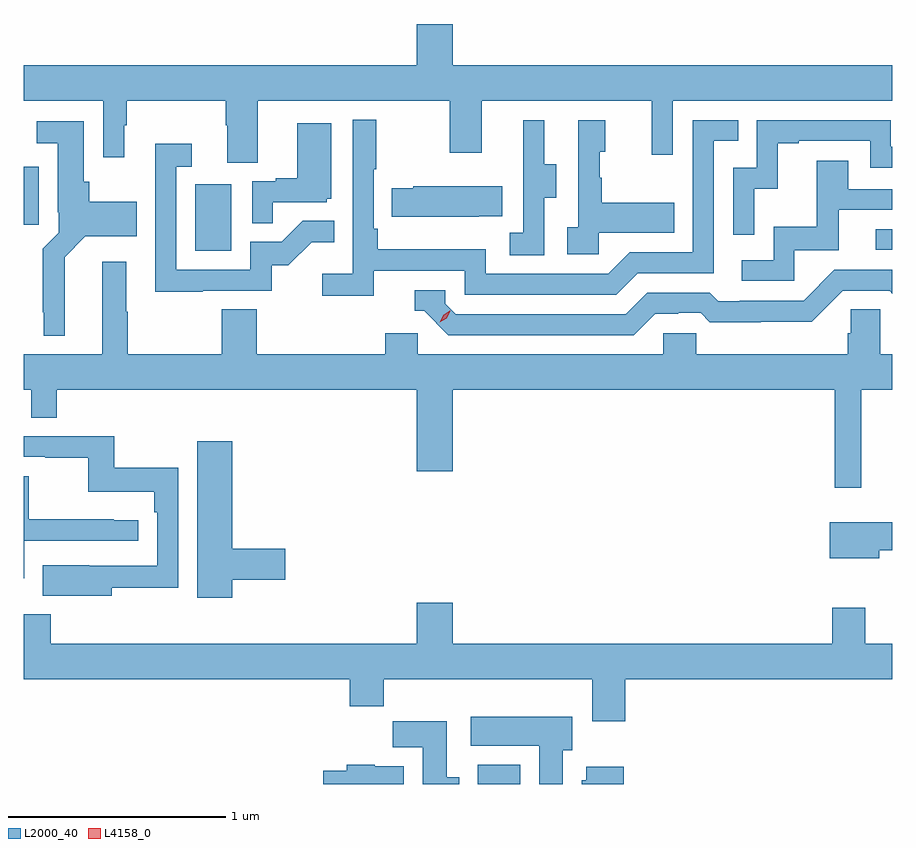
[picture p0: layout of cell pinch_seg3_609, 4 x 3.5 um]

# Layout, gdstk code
import gdstk
lib = gdstk.Library(unit=1e-6, precision=1e-09)
def R(c, l, rs):  # rectangles x0, y0, x1, y1
    for r in rs: c.add(gdstk.rectangle(r[:2], r[2:], *l))
def P(c, l, *ps):  # polygons
    for p in ps: c.add(gdstk.Polygon(p, *l))
L2000_40 = (2000, 40)
L4158_0 = (4158, 0)

pinch_seg3_609 = lib.new_cell('pinch_seg3_609')
R(pinch_seg3_609, L2000_40, [(1040.411,691.11,1040.608,691.198), (1039.112,693.564,1039.276,693.871), (1042.245,693.57,1042.321,693.663), (1038.321,693.684,1038.391,693.951)])
P(pinch_seg3_609, L2000_40, [(1039.399,694.256),(1040.284,694.256),(1040.284,694.017),(1040.431,694.017),(1040.431,694.256),(1041.212,694.256),(1041.212,694.008),(1041.309,694.008),(1041.309,694.256),(1042.321,694.256),(1042.321,694.42),(1040.296,694.42),(1040.296,694.609),(1040.132,694.609),(1040.132,694.42),(1038.321,694.42),(1038.321,694.256),(1038.687,694.256),(1038.687,693.996),(1038.784,693.996),(1038.784,694.144),(1038.796,694.144),(1038.796,694.256),(1039.252,694.256),(1039.252,694.144),(1039.259,694.144),(1039.259,693.97),(1039.399,693.97)],
  [(1039.934,693.474),(1040.352,693.474),(1040.352,693.363),(1041.049,693.363),(1041.148,693.462),(1041.498,693.462),(1041.498,694.071),(1041.611,694.071),(1041.611,694.167),(1041.402,694.167),(1041.402,693.558),(1041.111,693.558),(1041.012,693.459),(1040.448,693.459),(1040.448,693.571),(1039.952,693.571),(1039.952,693.667),(1039.932,693.667),(1039.932,693.94),(1039.945,693.94),(1039.945,694.168),(1039.836,694.168),(1039.836,693.46),(1039.695,693.46),(1039.695,693.358),(1039.934,693.358)],
  [(1041.684,693.851),(1041.794,693.851),(1041.794,694.059),(1041.889,694.059),(1041.889,694.071),(1042.218,694.071),(1042.218,693.948),(1042.321,693.948),(1042.321,694.044),(1042.314,694.044),(1042.314,694.167),(1041.696,694.167),(1041.696,693.948),(1041.588,693.948),(1041.588,693.639),(1041.684,693.639)],
  [(1040.718,693.808),(1040.773,693.808),(1040.773,693.963),(1040.719,693.963),(1040.719,694.165),(1040.621,694.165),(1040.621,693.951),(1040.622,693.951),(1040.622,693.647),(1040.559,693.647),(1040.559,693.544),(1040.718,693.544)],
  [(1040.97,693.647),(1041.317,693.647),(1041.317,693.787),(1040.983,693.787),(1040.983,693.902),(1040.973,693.902),(1040.973,694.02),(1040.998,694.02),(1040.998,694.165),(1040.874,694.165),(1040.874,693.674),(1040.823,693.674),(1040.823,693.549),(1040.97,693.549)],
  [(1038.511,693.536),(1038.606,693.632),(1038.841,693.632),(1038.841,693.79),(1038.624,693.79),(1038.624,693.882),(1038.598,693.882),(1038.598,694.162),(1038.381,694.162),(1038.381,694.061),(1038.479,694.061),(1038.479,693.742),(1038.483,693.742),(1038.483,693.648),(1038.409,693.574),(1038.409,693.283),(1038.413,693.283),(1038.413,693.173),(1038.511,693.173)],
  [(1039.469,693.789),(1039.716,693.789),(1039.716,693.804),(1039.738,693.804),(1039.738,694.153),(1039.58,694.153),(1039.58,693.898),(1039.481,693.898),(1039.481,693.885),(1039.374,693.885),(1039.374,693.691),(1039.469,693.691)],
  [(1039.145,693.381),(1039.464,693.381),(1039.464,693.498),(1039.54,693.498),(1039.647,693.605),(1039.751,693.605),(1039.751,693.704),(1039.607,693.704),(1039.509,693.606),(1039.365,693.606),(1039.365,693.477),(1039.023,693.477),(1039.023,693.951),(1039.096,693.951),(1039.096,694.057),(1038.927,694.057),(1038.927,693.376),(1039.145,693.376)],
  [(1041.87,693.567),(1042.075,693.567),(1042.075,693.753),(1042.321,693.753),(1042.321,693.849),(1042.117,693.849),(1042.117,693.979),(1041.973,693.979),(1041.973,693.676),(1041.774,693.676),(1041.774,693.522),(1041.627,693.522),(1041.627,693.426),(1041.87,693.426)],
  [(1040.417,693.725),(1040.525,693.725),(1040.525,693.862),(1040.115,693.862),(1040.115,693.852),(1040.017,693.852),(1040.017,693.722),(1040.417,693.722)],
  [(1042.177,692.924),(1042.321,692.924),(1042.321,693.088),(1042.266,693.088),(1042.266,693.296),(1042.129,693.296),(1042.129,693.186),(1042.115,693.186),(1042.115,693.088),(1041.417,693.088),(1041.417,693.186),(1041.267,693.186),(1041.267,693.088),(1040.136,693.088),(1040.136,693.186),(1039.985,693.186),(1039.985,693.088),(1039.394,693.088),(1039.394,693.296),(1039.234,693.296),(1039.234,693.088),(1038.801,693.088),(1038.801,693.284),(1038.793,693.284),(1038.793,693.514),(1038.683,693.514),(1038.683,693.088),(1038.321,693.088),(1038.321,692.924),(1038.357,692.924),(1038.357,692.797),(1038.473,692.797),(1038.473,692.924),(1040.132,692.924),(1040.132,692.55),(1040.296,692.55),(1040.296,692.924),(1042.055,692.924),(1042.055,692.475),(1042.177,692.475)],
  [(1041.229,693.276),(1041.336,693.276),(1041.336,693.279),(1041.439,693.279),(1041.481,693.237),(1041.714,693.237),(1041.714,693.239),(1041.95,693.239),(1042.092,693.381),(1042.308,693.381),(1042.321,693.368),(1042.321,693.477),(1042.053,693.477),(1041.912,693.336),(1041.619,693.336),(1041.619,693.333),(1041.52,693.333),(1041.481,693.372),(1041.192,693.372),(1041.093,693.273),(1040.31,693.273),(1040.262,693.321),(1040.262,693.384),(1040.123,693.384),(1040.123,693.288),(1040.166,693.288),(1040.277,693.177),(1041.13,693.177)],
  [(1038.727,692.014),(1039.032,692.014),(1039.032,692.566),(1038.739,692.566),(1038.739,692.712),(1038.321,692.712),(1038.321,692.616),(1038.421,692.616),(1038.421,692.611),(1038.618,692.611),(1038.618,692.456),(1038.923,692.456),(1038.923,692.36),(1038.936,692.36),(1038.936,692.115),(1038.623,692.115),(1038.623,692.116),(1038.409,692.116),(1038.409,691.976),(1038.727,691.976)],
  [(1039.282,692.05),(1039.525,692.05),(1039.525,692.192),(1039.282,692.192),(1039.282,692.689),(1039.121,692.689),(1039.121,691.968),(1039.282,691.968)],
  [(1038.324,692.229),(1038.85,692.229),(1038.85,692.325),(1038.737,692.325),(1038.737,692.33),(1038.344,692.33),(1038.344,692.526),(1038.321,692.526),(1038.321,692.057),(1038.324,692.057)],
  [(1042.261,692.186),(1042.321,692.186),(1042.321,692.314),(1042.032,692.314),(1042.032,692.15),(1042.261,692.15)],
  [(1041.092,691.592),(1042.321,691.592),(1042.321,691.756),(1042.195,691.756),(1042.195,691.921),(1042.043,691.921),(1042.043,691.756),(1040.296,691.756),(1040.296,691.945),(1040.132,691.945),(1040.132,691.756),(1038.446,691.756),(1038.446,691.891),(1038.321,691.891),(1038.321,691.592),(1039.823,691.592),(1039.823,691.468),(1039.979,691.468),(1039.979,691.592),(1040.939,691.592),(1040.939,691.398),(1041.092,691.398)],
  [(1040.803,691.266),(1040.848,691.266),(1040.848,691.42),(1040.379,691.42),(1040.379,691.286),(1040.696,691.286),(1040.696,691.11),(1040.803,691.11)],
  [(1040.326,691.14),(1040.269,691.14),(1040.269,691.399),(1040.02,691.399),(1040.02,691.28),(1040.159,691.28),(1040.159,691.11),(1040.326,691.11)],
  [(1040.071,691.192),(1039.938,691.192),(1039.938,691.198),(1039.808,691.198),(1039.808,691.17),(1039.701,691.17),(1039.701,691.11),(1040.071,691.11)],
  [(1041.083,691.189),(1040.912,691.189),(1040.912,691.128),(1040.891,691.128),(1040.891,691.11),(1041.083,691.11)])
P(pinch_seg3_609, L4158_0, [(1040.238,693.235),(1040.238,693.236),(1040.254,693.268),(1040.284,693.288),(1040.285,693.288),(1040.285,693.287),(1040.269,693.255),(1040.238,693.235)])

lib.write_gds('pinch_seg3_609.gds')
